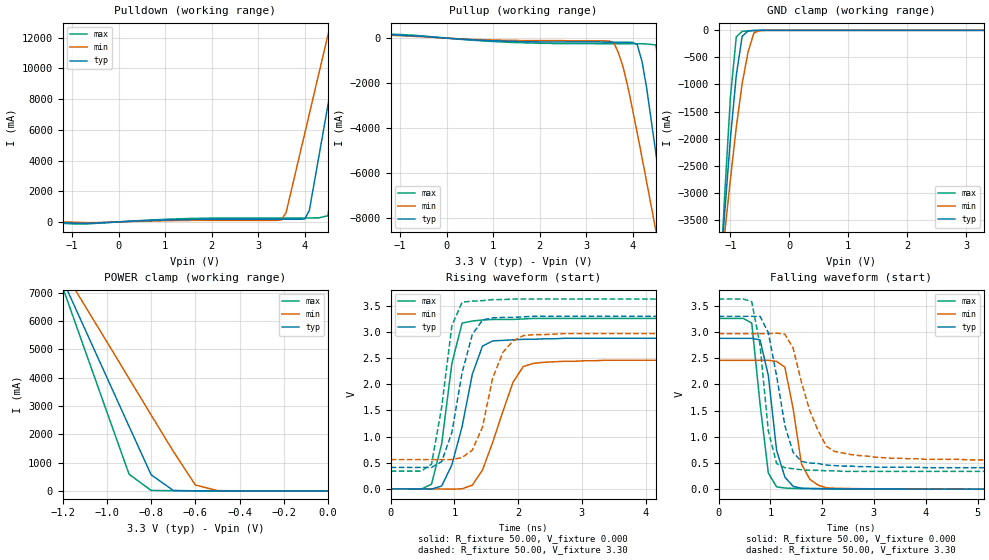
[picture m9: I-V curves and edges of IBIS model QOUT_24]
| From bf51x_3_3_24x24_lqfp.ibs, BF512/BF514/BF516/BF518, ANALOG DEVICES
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|   Model prw1624cdg_25
[Model]   QOUT_24
Model_type   I/O
Polarity   Non-Inverting
Enable   Active-Low
Vinl =   0.40V
Vinh =   2.40V
Vmeas =   1.20V
Cref =  50.00pF
Rref =   1.00M
Vref =  0.000V
C_comp   4.55pF   4.10pF   5.01pF
[Temperature Range]   25.00   0.12k   -40.00
[Voltage Range]   3.30V   2.97V   3.63V
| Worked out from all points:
|   slope of the pulldown table from 0 to 0.495 V, typ, clamps not added: 7.25 ohm
|   slope of the pullup table from 0 to 0.495 V, typ, clamps not added: 7.49 ohm
|   GND clamp passes 1 mA (typ) near -0.53 V on its own axis
|   POWER clamp passes 1 mA (typ) near -0.53 V on its own axis
|   rising waveform, R_fixture 50.00, V_fixture 0.000: 20-80 % time 328ps typ, 420ps min, 246ps max; typ from 0 V to 2.88 V
|   rising waveform, R_fixture 50.00, V_fixture 3.30: 20-80 % time 296ps typ, 330ps min, 227ps max; typ from 0.41 V to 3.3 V
|   falling waveform, R_fixture 50.00, V_fixture 0.000: 20-80 % time 243ps typ, 246ps min, 220ps max; typ from 2.88 V to 0 V
|   falling waveform, R_fixture 50.00, V_fixture 3.30: 20-80 % time 338ps typ, 472ps min, 232ps max; typ from 3.3 V to 0.41 V
[Pulldown]
| voltage   I(typ)   I(min)   I(max)
-3.3V     0A         0A         -10mA
-800mV    -99.3mA    -37.1mA    -140mA
1.6V      160mA      96.25mA    230mA
3.5V      170mA      130mA      250mA
3.6V      170mA      600mA      250mA
4V        190mA      5.74A      250mA
4.1V      740mA      7.03A      250mA
4.5V      7.61A      12.18A     400mA
4.7V      11.05A     14.76A     4.58A
4.9V      14.5A      17.34A     8.98A
5.1V      17.94A     19.93A     13.38A
6.6V      44.61A     39.37A     49.91A
[Pullup]
| voltage   I(typ)   I(min)   I(max)
-3.3V     340mA      340mA      360mA
1V        -120mA     -83mA      -150mA
3.6V      -180mA     -210mA     -250mA
3.8V      -180mA     -1.31A     -250mA
4.1V      -290mA     -4.21A     -250mA
4.2V      -1.01A     -5.28A     -250mA
4.3V      -2.18A     -6.36A     -260mA
4.5V      -5.1A      -8.54A     -300mA
4.7V      -8.19A     -10.75A    -2.76A
4.9V      -11.33A    -12.96A    -6.95A
5.1V      -14.5A     -15.19A    -11.34A
6.6V      -38.42A    -31.95A    -44.92A
[GND_clamp]
| voltage   I(typ)   I(min)   I(max)
-3.3V     -38.23A    -28.13A    -52.07A
-1.2V     -4.92A     -4.84A     -5.19A
-1.1V     -3.42A     -3.78A     -3.1A
-1V       -2A        -2.75A     -1.24A
-900mV    -830mA     -1.79A     -120mA
-800mV    -110mA     -980mA     -19.28mA
-700mV    -10.13mA   -400mA     -9.8mA
-600mV    -2.59mA    -45.13mA   -3.5mA
-500mV    -460uA     -4.53mA    -550uA
3.3V      250pA      100uA      190pA
[POWER_clamp]
| voltage   I(typ)   I(min)   I(max)
-3.3V     44.38A     34.94A     61.27A
-1.2V     7.44A      7.83A      7.18A
-1.1V     5.72A      6.54A      4.98A
-900mV    2.28A      3.97A      590mA
-800mV    570mA      2.68A      16.99mA
-700mV    17.03mA    1.4A       7.08mA
-600mV    2.36mA     210mA      2.77mA
-500mV    460uA      11.86mA    530uA
0V        250pA      8.84nA     290pA
[Ramp]
| variable   typ   min   max
dV/dt_r   1.73/0.27n   1.48/0.36n   1.96/0.22n
dV/dt_f   1.73/0.26n   1.45/0.39n   1.98/0.20n
R_load = 50.00
[Rising Waveform]
R_fixture = 50.00
V_fixture = 0.000
V_fixture_min = 0.000
V_fixture_max = 0.000
L_fixture = 0.000H
C_fixture = 0.000F
| time   V(typ)   V(min)   V(max)
0s        0V         0V         0V
640ps     -4.91mV    -240uV     88.24mV
800ps     54.79mV    -1.7mV     860mV
960ps     460mV      -5.48mV    2.4V
1.12ns    1.19V      1.75mV     3.17V
1.28ns    2.19V      70.39mV    3.21V
1.44ns    2.73V      360mV      3.23V
1.92ns    2.85V      2.04V      3.24V
2.24ns    2.86V      2.4V       3.26V
8ns       2.88V      2.46V      3.26V
[Rising Waveform]
R_fixture = 50.00
V_fixture = 3.30
V_fixture_min = 2.97
V_fixture_max = 3.63
L_fixture = 0.000H
C_fixture = 0.000F
| time   V(typ)   V(min)   V(max)
0s        410mV      560mV      340mV
640ps     410mV      560mV      470mV
800ps     520mV      560mV      1.56V
960ps     1.08V      560mV      3.12V
1.12ns    2.22V      600mV      3.57V
1.28ns    2.95V      740mV      3.59V
1.44ns    3.23V      1.18V      3.6V
1.76ns    3.28V      2.61V      3.62V
2.08ns    3.29V      2.93V      3.63V
8ns       3.3V       2.97V      3.63V
[Falling Waveform]
R_fixture = 50.00
V_fixture = 0.000
V_fixture_min = 0.000
V_fixture_max = 0.000
L_fixture = 0.000H
C_fixture = 0.000F
| time   V(typ)   V(min)   V(max)
0s        2.88V      2.46V      3.26V
640ps     2.88V      2.46V      3.17V
800ps     2.85V      2.46V      1.63V
960ps     2.17V      2.46V      310mV
1.12ns    740mV      2.44V      43.01mV
1.28ns    230mV      2.33V      21.66mV
1.44ns    52.95mV    1.53V      14.33mV
1.6ns     18.85mV    480mV      10.69mV
1.92ns    12.58mV    77.57mV    7.16mV
8ns       14.8uV     63.37uV    -620nV
[Falling Waveform]
R_fixture = 50.00
V_fixture = 3.30
V_fixture_min = 2.97
V_fixture_max = 3.63
L_fixture = 0.000H
C_fixture = 0.000F
| time   V(typ)   V(min)   V(max)
0s        3.3V       2.97V      3.63V
640ps     3.3V       2.97V      3.58V
800ps     3.3V       2.97V      2.75V
960ps     2.99V      2.97V      1.11V
1.12ns    2.16V      2.98V      490mV
1.28ns    1.21V      2.96V      410mV
1.6ns     530mV      2.04V      370mV
1.92ns    490mV      1.12V      360mV
2.24ns    450mV      720mV      350mV
8ns       410mV      560mV      340mV
